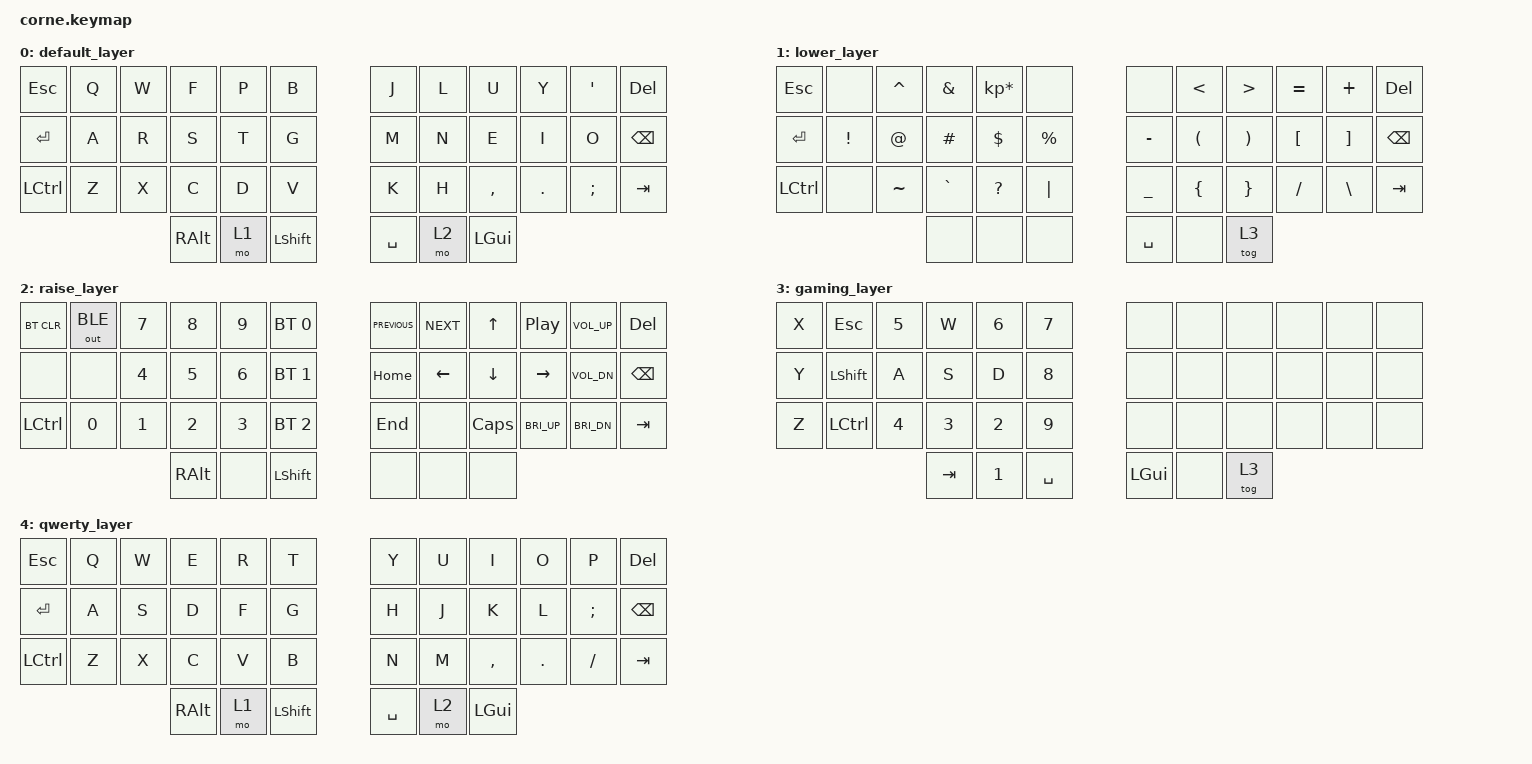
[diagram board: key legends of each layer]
/*
 * Copyright (c) 2020 The ZMK Contributors
 *
 * SPDX-License-Identifier: MIT
 */

#include <behaviors.dtsi>
#include <dt-bindings/zmk/outputs.h>
#include <dt-bindings/zmk/keys.h>
#include <dt-bindings/zmk/bt.h>

#define DEFAULT 0
#define LOWER   1
#define RAISE   2
#define GAMING  3
#define QWERTY  4

/ {
   combos {
      compatible = "zmk,combos";
      combo_qwerty {
         timeout-ms = <50>;
         layers = <0 3 4>;
         key-positions = <36 41>;
         bindings = <&tog 4>;
      };
   };
};

/ {

keymap {
compatible = "zmk,keymap";

default_layer {
// -----------------------------------------------------------------------------------------
// | ESC  |  Q  |  W  |  F  |  P  |  B  |   |  J  |  L   |  U  |  Y  |  '  | DEL |
// | ENTER|  A  |  R  |  S  |  T  |  G  |   |  M  |  N   |  E  |  I  |  O  | BKSP|
// | CTRL |  Z  |  X  |  C  |  D  |  V  |   |  K  |  H   |  ,  |  .  |  ;  | TAB |
//                    | ALT | LWR | SHFT|   | SPC | RSE  | GUI |
bindings = <
   &kp ESC    &kp Q &kp W &kp F &kp P &kp B    &kp J &kp L &kp U     &kp Y   &kp SQT  &kp DEL
   &kp RETURN &kp A &kp R &kp S &kp T &kp G    &kp M &kp N &kp E     &kp I   &kp O    &kp BACKSPACE
   &kp LCTRL  &kp Z &kp X &kp C &kp D &kp V    &kp K &kp H &kp COMMA &kp DOT &kp SEMI &kp TAB
                  &kp RALT  &mo 1 &kp LSHFT    &kp SPACE &mo 2 &kp LGUI
>;
};

lower_layer {
// -----------------------------------------------------------------------------------------
// | ESC  |     |  ^  |  &  |  *  |     |   |     |  <  |  >  |  =  |  +  | DEL |
// | ENTER|  !  |  @  |  #  |  $  |  %  |   |  -  |  (  |  )  |  [  |  ]  | BKSP|
// | CTRL |     |  ~  |  `  |  ?  | "|" |   |  _  |  {  |  }  |  /  |  \  | TAB |
//                    |     | HOLD|     |   | SPC |     |GAME |
bindings = <
   &kp ESC    &none    &kp CARET &kp AMPS  &kp KP_MULTIPLY &none        &none     &kp LT    &kp GT    &kp EQUAL &kp PLUS  &kp DEL
   &kp RETURN &kp EXCL &kp AT    &kp HASH  &kp DLLR        &kp PRCNT    &kp MINUS &kp LPAR  &kp RPAR  &kp LBKT  &kp RBKT  &kp BACKSPACE
   &kp LCTRL  &none    &kp TILDE &kp GRAVE &kp QMARK       &kp PIPE     &kp UNDER &kp LBRC  &kp RBRC  &kp FSLH  &kp BSLH  &kp TAB
                                 &none     &none           &none        &kp SPACE &none     &tog 3
>;
};

raise_layer {
// -----------------------------------------------------------------------------------------
// |BT_CLR| BLE |  7  |  8  |  9  | BT1 |   | PREV| NEXT|  UP | P/P | V_UP | DEL |
// |      |     |  4  |  5  |  6  | BT2 |   | HOME| LFT | DOWN| RGT | V_DN | BKSP|
// | CTRL |  0  |  1  |  2  |  3  | BT3 |   | END |     | CAPS| B_UP| B_DN | TAB |
//                    | ALT |     | SHFT|   |     | HOLD|     |
bindings = <
   &bt BT_CLR &out OUT_BLE &kp N7 &kp N8 &kp N9 &bt BT_SEL 0       &kp C_PREVIOUS &kp C_NEXT &kp UP    &kp C_PP     &kp C_VOL_UP  &kp DEL
   &none      &none        &kp N4 &kp N5 &kp N6 &bt BT_SEL 1       &kp HOME       &kp LEFT   &kp DOWN  &kp RIGHT    &kp C_VOL_DN  &kp BACKSPACE
   &kp LCTRL  &kp N0       &kp N1 &kp N2 &kp N3 &bt BT_SEL 2       &kp END        &none      &kp CAPS  &kp C_BRI_UP &kp C_BRI_DN  &kp TAB
                                    &kp RALT &none &kp LSHFT       &none          &none      &none
>;
};

gaming_layer {
// -----------------------------------------------------------------------------------------
// |  X  | ESC  |  5  |  W  |  6  |  7  |   |     |     |     |     |     |     |
// |  Y  | SHFT |  A  |  S  |  D  |  8  |   |     |     |     |     |     |     |
// |  Z  | CTRL |  4  |  3  |  2  |  9  |   |     |     |     |     |     |     |
//                    | TAB |  1  |SPACE|   | GUI |     |BASE |
bindings = <
   &kp X  &kp ESC    &kp 5  &kp W  &kp 6  &kp 7    &none    &none &none &none &none &none
   &kp Y  &kp LSHFT  &kp A  &kp S  &kp D  &kp 8    &none    &none &none &none &none &none
   &kp Z  &kp LCTRL  &kp N4 &kp N3 &kp N2 &kp 9    &none    &none &none &none &none &none
                     &kp TAB  &kp N1  &kp SPACE    &kp LGUI &none &tog 3
>;
};

qwerty_layer {
// -----------------------------------------------------------------------------------------
// | ESC  |  Q  |  W  |  E  |  R  |  T  |   |  Y  |  U  |  I  |  O  |  P  | DEL |
// | ENTER|  A  |  S  |  D  |  F  |  G  |   |  H  |  J  |  K  |  L  |  ;: | BKSP|
// | CTRL |  Z  |  X  |  C  |  V  |  B  |   |  N  |  M  |  ,< |  .> |  /? | TAB |
//                    | ALT | LWR | SHFT|   | SPC | RSE | GUI |
bindings = <
   &kp ESC    &kp Q &kp W &kp E &kp R &kp T    &kp Y &kp U &kp I     &kp O   &kp P     &kp DEL
   &kp RETURN &kp A &kp S &kp D &kp F &kp G    &kp H &kp J &kp K     &kp L   &kp SEMI  &kp BACKSPACE
   &kp LCTRL  &kp Z &kp X &kp C &kp V &kp B    &kp N &kp M &kp COMMA &kp DOT &kp FSLH  &kp TAB
                  &kp RALT  &mo 1 &kp LSHFT    &kp SPACE &mo 2 &kp LGUI
>;
};

};
};
